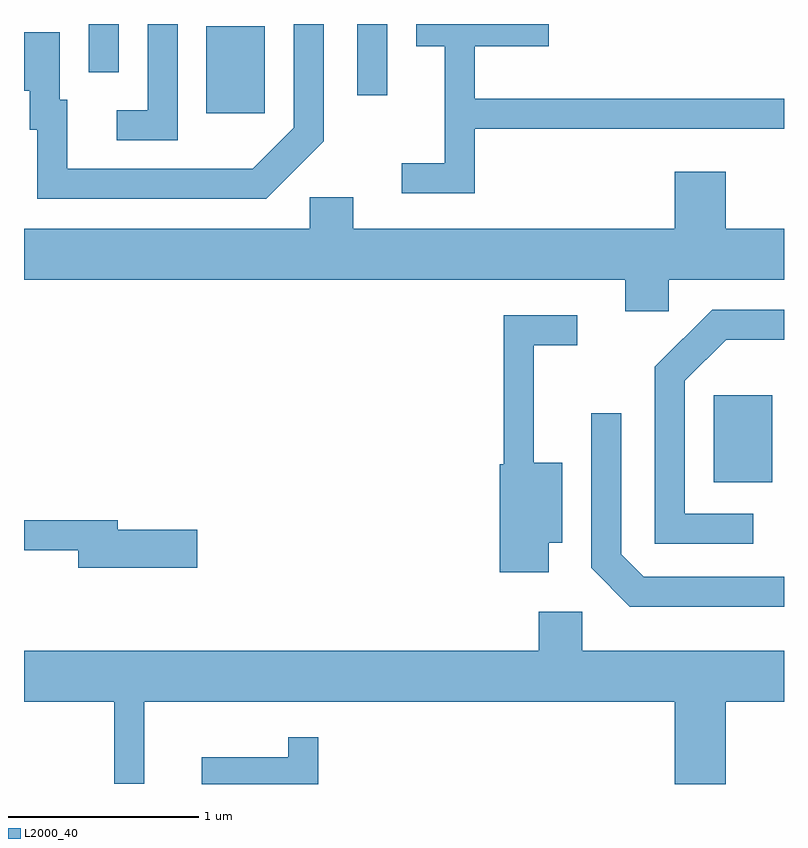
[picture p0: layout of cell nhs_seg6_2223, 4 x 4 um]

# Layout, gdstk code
import gdstk
lib = gdstk.Library(unit=1e-6, precision=1e-09)
def R(c, l, rs):  # rectangles x0, y0, x1, y1
    for r in rs: c.add(gdstk.rectangle(r[:2], r[2:], *l))
def P(c, l, *ps):  # polygons
    for p in ps: c.add(gdstk.Polygon(p, *l))
L2000_40 = (2000, 40)

nhs_seg6_2223 = lib.new_cell('nhs_seg6_2223')
R(nhs_seg6_2223, L2000_40, [(255.241,1657.751,255.549,1658.209), (252.571,1659.691,252.879,1660.149), (253.366,1659.788,253.524,1660.162), (251.951,1659.908,252.109,1660.162)])
P(nhs_seg6_2223, L2000_40, [(252.419,1660.162),(252.261,1660.162),(252.261,1659.709),(252.098,1659.709),(252.098,1659.551),(252.419,1659.551)],
  [(253.189,1659.544),(253.189,1660.162),(253.031,1660.162),(253.031,1659.617),(252.814,1659.399),(251.839,1659.399),(251.839,1659.764),(251.799,1659.764),(251.799,1660.119),(251.611,1660.119),(251.611,1659.811),(251.641,1659.811),(251.641,1659.606),(251.681,1659.606),(251.681,1659.241),(252.887,1659.241)],
  [(253.984,1659.611),(255.611,1659.611),(255.611,1659.769),(253.984,1659.769),(253.984,1660.046),(254.374,1660.046),(254.374,1660.162),(253.676,1660.162),(253.676,1660.046),(253.826,1660.046),(253.826,1659.429),(253.598,1659.429),(253.598,1659.271),(253.984,1659.271)],
  [(255.004,1658.816),(255.611,1658.816),(255.611,1659.084),(255.304,1659.084),(255.304,1659.384),(255.036,1659.384),(255.036,1659.084),(253.344,1659.084),(253.344,1659.249),(253.116,1659.249),(253.116,1659.084),(251.611,1659.084),(251.611,1658.816),(254.776,1658.816),(254.776,1658.651),(255.004,1658.651)],
  [(255.448,1657.584),(255.089,1657.584),(255.089,1658.284),(255.307,1658.501),(255.611,1658.501),(255.611,1658.659),(255.234,1658.659),(254.931,1658.357),(254.931,1657.426),(255.448,1657.426)],
  [(254.374,1657.431),(254.444,1657.431),(254.444,1657.854),(254.294,1657.854),(254.294,1658.471),(254.523,1658.471),(254.523,1658.629),(254.136,1658.629),(254.136,1657.844),(254.116,1657.844),(254.116,1657.276),(254.374,1657.276)],
  [(255.611,1657.254),(254.872,1657.254),(254.754,1657.372),(254.754,1658.113),(254.596,1658.113),(254.596,1657.299),(254.799,1657.096),(255.611,1657.096)],
  [(252.524,1657.499),(252.104,1657.499),(252.104,1657.549),(251.611,1657.549),(251.611,1657.391),(251.896,1657.391),(251.896,1657.301),(252.524,1657.301)],
  [(255.304,1656.596),(255.611,1656.596),(255.611,1656.864),(254.549,1656.864),(254.549,1657.069),(254.321,1657.069),(254.321,1656.864),(251.611,1656.864),(251.611,1656.596),(252.086,1656.596),(252.086,1656.163),(252.244,1656.163),(252.244,1656.596),(255.036,1656.596),(255.036,1656.162),(255.304,1656.162)],
  [(253.159,1656.408),(253.001,1656.408),(253.001,1656.304),(252.546,1656.304),(252.546,1656.162),(253.159,1656.162)])

lib.write_gds('nhs_seg6_2223.gds')
